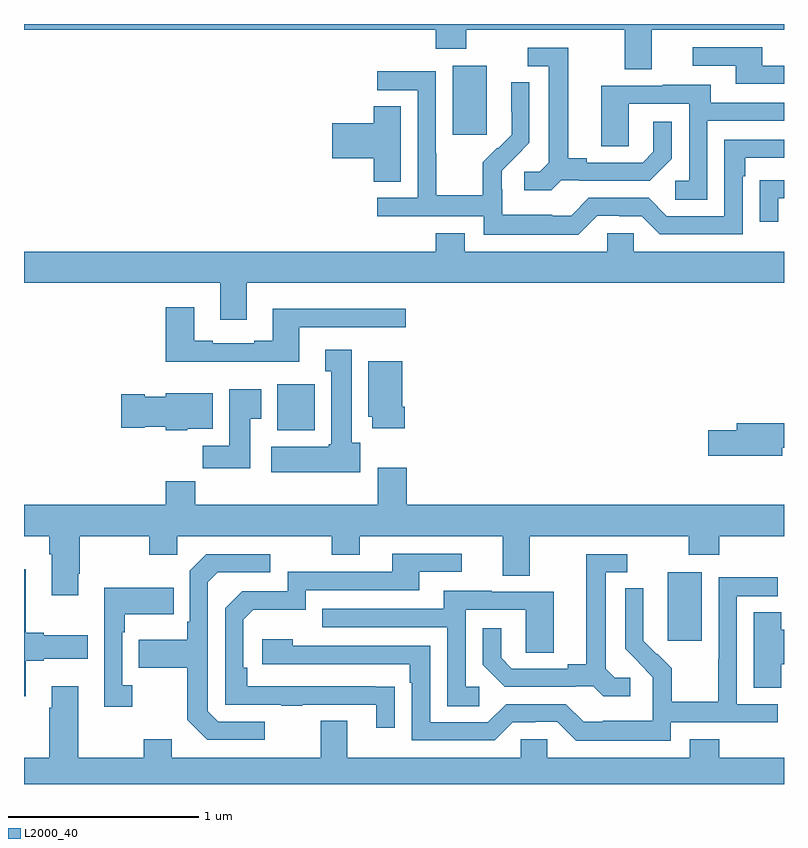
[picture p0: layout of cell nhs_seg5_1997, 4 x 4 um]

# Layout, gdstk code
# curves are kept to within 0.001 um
import gdstk
lib = gdstk.Library(unit=1e-6, precision=1e-09)
def R(c, l, rs):  # rectangles x0, y0, x1, y1
    for r in rs: c.add(gdstk.rectangle(r[:2], r[2:], *l))
def P(c, l, *ps):  # polygons
    for p in ps: c.add(gdstk.Polygon(p, *l))
L2000_40 = (2000, 40)

nhs_seg5_1997 = lib.new_cell('nhs_seg5_1997')
R(nhs_seg5_1997, L2000_40, [(232.388,845.553,232.567,845.914), (230.333,846.662,230.53,846.904), (231.257,848.217,231.436,848.578)])
P(nhs_seg5_1997, L2000_40, [(232.303,848.768),(233,848.768),(233,848.799),(229,848.799),(229,848.768),(231.167,848.768),(231.167,848.669),(231.327,848.669),(231.327,848.768),(232.163,848.768),(232.163,848.56),(232.303,848.56)],
  [(233,848.58),(232.885,848.58),(232.885,848.676),(232.521,848.676),(232.521,848.58),(232.745,848.58),(232.745,848.484),(233,848.484)],
  [(231.828,847.977),(231.922,847.977),(231.922,847.974),(232.294,847.974),(232.41,848.09),(232.41,848.284),(232.313,848.284),(232.313,848.127),(232.256,848.07),(231.961,848.07),(231.961,848.093),(231.865,848.093),(231.865,848.673),(231.651,848.673),(231.651,848.577),(231.761,848.577),(231.761,848.069),(231.714,848.022),(231.633,848.022),(231.633,847.925),(231.776,847.925)],
  [(232.017,847.791),(232.133,847.791),(232.133,847.788),(232.251,847.788),(232.347,847.692),(232.782,847.692),(232.782,847.997),(232.795,847.997),(232.795,848.094),(233,848.094),(233,848.19),(232.686,848.19),(232.686,847.788),(232.383,847.788),(232.287,847.884),(231.972,847.884),(231.879,847.791),(231.779,847.791),(231.779,847.795),(231.516,847.795),(231.516,847.929),(231.514,847.929),(231.514,848.026),(231.66,848.174),(231.66,848.492),(231.564,848.492),(231.564,848.338),(231.566,848.338),(231.566,848.216),(231.495,848.145),(231.492,848.148),(231.415,848.071),(231.415,847.897),(231.171,847.897),(231.171,848.12),(231.168,848.12),(231.168,848.55),(230.859,848.55),(230.859,848.451),(231.072,848.451),(231.072,847.884),(230.859,847.884),(230.859,847.788),(231.42,847.788),(231.42,847.691),(231.917,847.691)],
  [(232.596,848.289),(233,848.289),(233,848.385),(232.615,848.385),(232.615,848.479),(232.361,848.479),(232.361,848.475),(232.037,848.475),(232.037,848.155),(232.182,848.155),(232.182,848.379),(232.5,848.379),(232.5,847.974),(232.428,847.974),(232.428,847.873),(232.596,847.873)],
  [(230.983,848.366),(230.84,848.366),(230.84,848.276),(230.622,848.276),(230.622,848.093),(230.84,848.093),(230.84,847.969),(230.983,847.969)],
  [(232.969,847.881),(233,847.881),(233,847.977),(232.975,847.977),(232.975,847.976),(232.873,847.976),(232.873,847.758),(232.969,847.758)],
  [(230.173,847.436),(233,847.436),(233,847.6),(232.209,847.6),(232.209,847.698),(232.071,847.698),(232.071,847.6),(231.319,847.6),(231.319,847.699),(231.167,847.699),(231.167,847.6),(229,847.6),(229,847.436),(230.033,847.436),(230.033,847.242),(230.173,847.242)],
  [(230.449,847.203),(231.01,847.203),(231.01,847.3),(230.309,847.3),(230.309,847.132),(230.213,847.132),(230.213,847.119),(229.993,847.119),(229.993,847.132),(229.897,847.132),(229.897,847.309),(229.745,847.309),(229.745,847.022),(230.449,847.022)],
  [(230.77,846.594),(230.725,846.594),(230.725,847.084),(230.585,847.084),(230.585,846.971),(230.618,846.971),(230.618,846.588),(230.605,846.588),(230.605,846.574),(230.301,846.574),(230.301,846.44),(230.77,846.44)],
  [(231.005,846.784),(230.992,846.784),(230.992,847.024),(230.813,847.024),(230.813,846.732),(230.834,846.732),(230.834,846.672),(231.005,846.672)],
  [(230.191,846.721),(230.248,846.721),(230.248,846.877),(230.081,846.877),(230.081,846.58),(229.942,846.58),(229.942,846.462),(230.191,846.462)],
  [(229.86,846.668),(229.993,846.668),(229.993,846.856),(229.746,846.856),(229.746,846.838),(229.635,846.838),(229.635,846.851),(229.512,846.851),(229.512,846.673),(229.635,846.673),(229.635,846.68),(229.746,846.68),(229.746,846.662),(229.86,846.662)],
  [(232.99,846.57),(233,846.57),(233,846.698),(232.751,846.698),(232.751,846.662),(232.602,846.662),(232.602,846.527),(232.99,846.527)],
  [(229.285,845.905),(229.293,845.905),(229.293,846.104),(229.66,846.104),(229.66,846.005),(229.806,846.005),(229.806,846.104),(230.62,846.104),(230.62,846.005),(230.767,846.005),(230.767,846.104),(231.521,846.104),(231.521,845.896),(231.661,845.896),(231.661,846.104),(232.498,846.104),(232.498,846.005),(232.658,846.005),(232.658,846.104),(233,846.104),(233,846.268),(231.014,846.268),(231.014,846.463),(230.861,846.463),(230.861,846.268),(229.901,846.268),(229.901,846.392),(229.745,846.392),(229.745,846.268),(229,846.268),(229,846.104),(229.133,846.104),(229.133,846.008),(229.145,846.008),(229.145,845.793),(229.285,845.793)],
  [(230.951,845.312),(230.174,845.313),(230.174,845.41),(230.154,845.41),(230.154,845.664),(230.207,845.717),(230.484,845.717),(230.484,845.82),(231.079,845.82),(231.079,845.916),(231.304,845.916),(231.304,846.012),(230.939,846.012),(230.939,845.916),(230.388,845.916),(230.388,845.814),(230.148,845.814),(230.058,845.724),(230.058,845.217),(230.353,845.217),(230.353,845.212),(230.465,845.212),(230.465,845.217),(230.855,845.217),(230.855,845.094),(230.951,845.094)],
  [(230.266,845.127),(230.022,845.127),(229.968,845.181),(229.968,845.862),(230.019,845.913),(230.296,845.913),(230.296,846.009),(229.959,846.009),(229.872,845.922),(229.872,845.653),(229.86,845.653),(229.86,845.557),(229.603,845.557),(229.603,845.41),(229.86,845.41),(229.86,845.137),(229.965,845.031),(230.266,845.031)],
  [(232.192,845.358),(232.11,845.358),(232.063,845.405),(232.063,845.913),(232.174,845.913),(232.174,846.009),(231.959,846.009),(231.959,845.429),(231.863,845.429),(231.863,845.406),(231.568,845.406),(231.511,845.463),(231.511,845.62),(231.414,845.62),(231.414,845.426),(231.53,845.31),(231.902,845.31),(231.902,845.313),(231.996,845.313),(232.048,845.261),(232.192,845.261)],
  [(229.009,845.447),(229.105,845.447),(229.105,845.459),(229.336,845.459),(229.336,845.581),(229.105,845.581),(229.105,845.594),(229.009,845.594),(229.009,845.929),(229,845.929),(229,845.262),(229.009,845.262)],
  [(232.404,845.124),(232.966,845.124),(232.966,845.22),(232.752,845.22),(232.752,845.787),(232.966,845.787),(232.966,845.886),(232.656,845.886),(232.656,845.456),(232.654,845.456),(232.654,845.233),(232.409,845.233),(232.409,845.407),(232.332,845.484),(232.329,845.481),(232.259,845.552),(232.26,845.828),(232.164,845.828),(232.164,845.51),(232.31,845.362),(232.31,845.265),(232.308,845.265),(232.308,845.131),(232.045,845.131),(232.045,845.127),(231.945,845.127),(231.852,845.22),(231.537,845.22),(231.441,845.124),(231.138,845.124),(231.138,845.526),(230.414,845.526),(230.414,845.56),(230.253,845.56),(230.253,845.43),(231.029,845.43),(231.029,845.333),(231.042,845.333),(231.042,845.028),(231.477,845.028),(231.573,845.124),(231.692,845.124),(231.692,845.127),(231.807,845.127),(231.907,845.027),(232.404,845.027)],
  [(229.57,845.318),(229.518,845.318),(229.518,845.597),(229.531,845.597),(229.531,845.693),(229.787,845.693),(229.787,845.833),(229.422,845.833),(229.422,845.205),(229.57,845.205)],
  [(231.397,845.31),(231.324,845.31),(231.324,845.715),(231.642,845.715),(231.642,845.491),(231.787,845.491),(231.787,845.811),(231.463,845.811),(231.463,845.815),(231.209,845.815),(231.209,845.721),(230.569,845.721),(230.569,845.625),(231.228,845.625),(231.228,845.209),(231.397,845.209)],
  [(232.985,845.429),(233,845.429),(233,845.612),(232.985,845.612),(232.985,845.702),(232.841,845.702),(232.841,845.305),(232.985,845.305)],
  [(233,844.936),(232.658,844.936),(232.658,845.035),(232.505,845.035),(232.505,844.936),(231.753,844.936),(231.753,845.034),(231.615,845.034),(231.615,844.936),(230.701,844.936),(230.701,845.131),(230.561,845.131),(230.561,844.936),(229.777,844.936),(229.777,845.035),(229.63,845.035),(229.63,844.936),(229.285,844.936),(229.285,845.314),(229.145,845.314),(229.145,845.201),(229.133,845.201),(229.133,844.936),(229,844.936),(229,844.799),(233,844.799)])

lib.write_gds('nhs_seg5_1997.gds')
